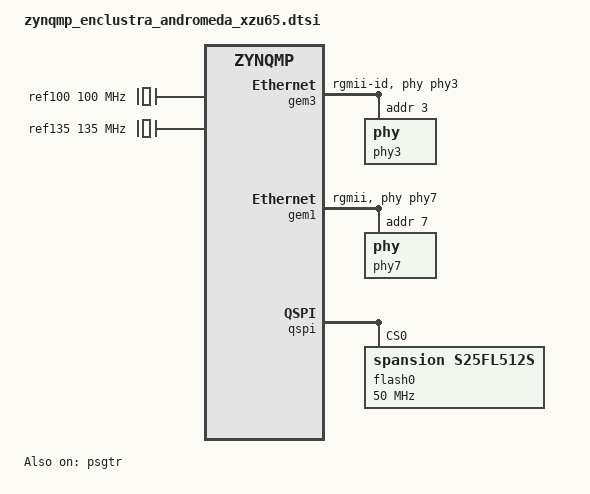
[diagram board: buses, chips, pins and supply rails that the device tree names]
/ {
	aliases {
		ethernet0 = &gem1;
		ethernet1 = &gem3;
		i2c0 = &i2c0;
		serial0 = &uart0;
		spi0 = &qspi;
	};
};

&gem3 {
	status = "okay";
	/delete-property/ local-mac-address;
	// mode=rgmii-id enables additional 2ns RX and TX clock delay
	phy-mode = "rgmii-id";
	phy-handle = <&phy3>;

	// KSZ9131
	phy3: phy@3 {
		reg = <3>;

		// 2 ns TX clock delay
		txc-skew-psec = <0>;
		txen-skew-psec = <0>;

		txd0-skew-psec = <0>;
		txd1-skew-psec = <0>;
		txd2-skew-psec = <0>;
		txd3-skew-psec = <0>;

		// 2 ns RX clock delay
		rxc-skew-psec = <0>;
		rxdv-skew-psec = <0>;

		rxd0-skew-psec = <0>;
		rxd1-skew-psec = <0>;
		rxd2-skew-psec = <0>;
		rxd3-skew-psec = <0>;
	};
};

&gem1 {
	status = "okay";
	/delete-property/ local-mac-address;
	// mode=rgmii disables additional 2ns RX and TX clock delay
	phy-mode = "rgmii";
	phy-handle = <&phy7>;

	// KSZ9131
	phy7: phy@7 {
		reg = <7>;

		// 0 ns TX clock delay
		txc-skew-psec = <0>;
		txen-skew-psec = <0>;

		txd0-skew-psec = <0>;
		txd1-skew-psec = <0>;
		txd2-skew-psec = <0>;
		txd3-skew-psec = <0>;

		// -0.29 ns RX clock delay
		rxc-skew-psec = <(-700)>;
		rxdv-skew-psec = <0>;

		rxd0-skew-psec = <0>;
		rxd1-skew-psec = <0>;
		rxd2-skew-psec = <0>;
		rxd3-skew-psec = <0>;
	};
};

&qspi {
	status = "okay";
	#address-cells = <1>;
	#size-cells = <0>;
	is-dual = <1>;
	num-cs = <2>;
	flash0: flash@0 {
		reg = <0x0>;
		compatible = "spansion,s25fl512s", "jedec,spi-nor";
		spi-rx-bus-width = <0x4>;
		spi-tx-bus-width = <0x4>;
		spi-max-frequency = <50000000>;
		#address-cells = <1>;
		#size-cells = <1>;
	};
};

&psgtr {
	status = "okay";
	clocks = <&ref100>, <&ref135>;
	clock-names = "ref2", "ref3";
};

&amba {
	ref100: ref100M {
		compatible = "fixed-clock";
		#clock-cells = <0>;
		clock-frequency = <100000000>;
	};
	ref135: ref135M {
		compatible = "fixed-clock";
		#clock-cells = <0>;
		clock-frequency = <135000000>;
	};
};

